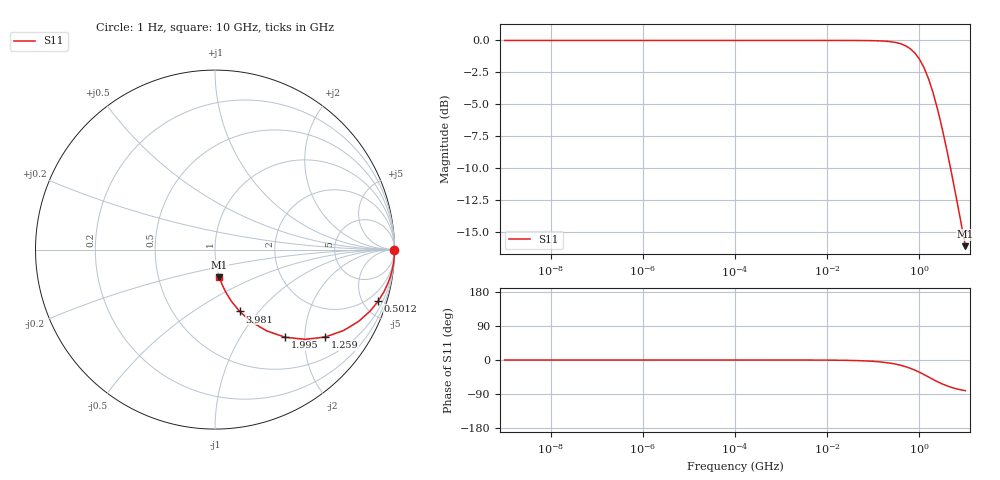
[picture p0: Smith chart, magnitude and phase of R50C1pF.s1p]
# HZ S RI R 50
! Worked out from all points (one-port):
!   101 points, 1 Hz to 10 GHz, reference 50 ohm
!   lowest |S11| = -16.1 dB at 10 GHz (marker M1), VSWR 1.37, Z = 50 - j15.9 ohm
!   |S11| at or under -10 dB: 4.79 GHz to end of sweep
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1  1 -6.28e-10
19.95262  1 -1.25e-08
316.2278  1 -1.99e-07
6309.573  1 -3.96e-06
100000  1 -6.28e-05
1995262  1 -0.00125
1e7  1 -0.00628
3.162278e7  0.9996 -0.0199
7.943282e7  0.9975 -0.0498
1.258925e8  0.9938 -0.0786
1.584893e8  0.9902 -0.0986
2.511886e8  0.9757 -0.154
3.162278e8  0.962 -0.1911
3.981072e8  0.9411 -0.2354
5.011872e8  0.9098 -0.2865
6.309573e8  0.8642 -0.3426
7.943282e8  0.8006 -0.3996
1e9  0.717 -0.4505
1.258925e9  0.6151 -0.4866
1.584893e9  0.5021 -0.5
1.995262e9  0.3889 -0.4875
2.511886e9  0.2865 -0.4521
3.162278e9  0.2021 -0.4016
3.981072e9  0.1378 -0.3447
5.011872e9  0.0916 -0.2885
6.309573e9  0.0598 -0.2372
7.943282e9  0.0386 -0.1926
1e10  0.0247 -0.1552
